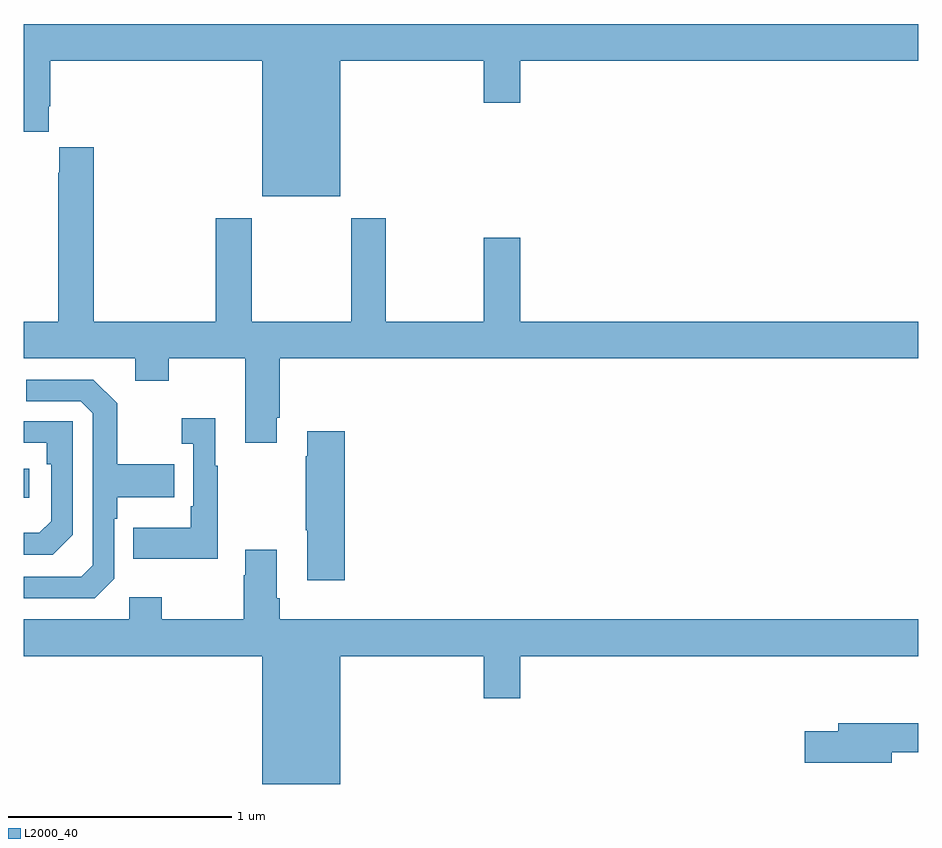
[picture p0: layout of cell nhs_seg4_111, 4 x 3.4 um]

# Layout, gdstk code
import gdstk
lib = gdstk.Library(unit=1e-6, precision=1e-09)
def R(c, l, rs):  # rectangles x0, y0, x1, y1
    for r in rs: c.add(gdstk.rectangle(r[:2], r[2:], *l))
def P(c, l, *ps):  # polygons
    for p in ps: c.add(gdstk.Polygon(p, *l))
L2000_40 = (2000, 40)

nhs_seg4_111 = lib.new_cell('nhs_seg4_111')
R(nhs_seg4_111, L2000_40, [(115,812.18,115.024,812.31)])
P(nhs_seg4_111, L2000_40, [(116.416,814.136),(117.056,814.136),(117.056,813.948),(117.22,813.948),(117.22,814.136),(119,814.136),(119,814.3),(115,814.3),(115,813.819),(115.111,813.819),(115.111,813.931),(115.118,813.931),(115.118,814.136),(116.066,814.136),(116.066,813.53),(116.416,813.53)],
  [(116.131,812.539),(116.144,812.539),(116.144,812.804),(119,812.804),(119,812.968),(117.22,812.968),(117.22,813.343),(117.056,813.343),(117.056,812.968),(116.619,812.968),(116.619,813.43),(116.464,813.43),(116.464,812.968),(116.019,812.968),(116.019,813.43),(115.859,813.43),(115.859,812.968),(115.313,812.968),(115.313,813.748),(115.157,813.748),(115.157,813.635),(115.153,813.635),(115.153,812.968),(115,812.968),(115,812.804),(115.499,812.804),(115.499,812.705),(115.647,812.705),(115.647,812.804),(115.991,812.804),(115.991,812.427),(116.131,812.427)],
  [(115.404,811.818),(115.404,812.087),(115.417,812.087),(115.417,812.183),(115.673,812.183),(115.673,812.331),(115.417,812.331),(115.417,812.603),(115.311,812.709),(115.011,812.709),(115.011,812.613),(115.254,812.613),(115.308,812.559),(115.308,811.878),(115.257,811.827),(115,811.827),(115,811.731),(115.317,811.731)],
  [(115.867,812.323),(115.855,812.323),(115.855,812.536),(115.707,812.536),(115.707,812.423),(115.758,812.423),(115.758,812.143),(115.746,812.143),(115.746,812.047),(115.489,812.047),(115.489,811.907),(115.867,811.907)],
  [(115.218,812.016),(115.218,812.523),(115,812.523),(115,812.427),(115.102,812.427),(115.102,812.33),(115.122,812.33),(115.122,812.076),(115.069,812.023),(115,812.023),(115,811.926),(115.128,811.926)],
  [(116.435,812.479),(116.267,812.479),(116.267,812.366),(116.26,812.366),(116.26,812.035),(116.267,812.035),(116.267,811.812),(116.435,811.812)],
  [(116.416,811.472),(117.056,811.472),(117.056,811.284),(117.22,811.284),(117.22,811.472),(119,811.472),(119,811.636),(116.144,811.636),(116.144,811.732),(116.131,811.732),(116.131,811.948),(115.991,811.948),(115.991,811.835),(115.984,811.835),(115.984,811.636),(115.617,811.636),(115.617,811.735),(115.47,811.735),(115.47,811.636),(115,811.636),(115,811.472),(116.066,811.472),(116.066,810.9),(116.416,810.9)],
  [(118.882,811.042),(119,811.042),(119,811.171),(118.643,811.171),(118.643,811.137),(118.494,811.137),(118.494,810.995),(118.882,810.995)])

lib.write_gds('nhs_seg4_111.gds')
